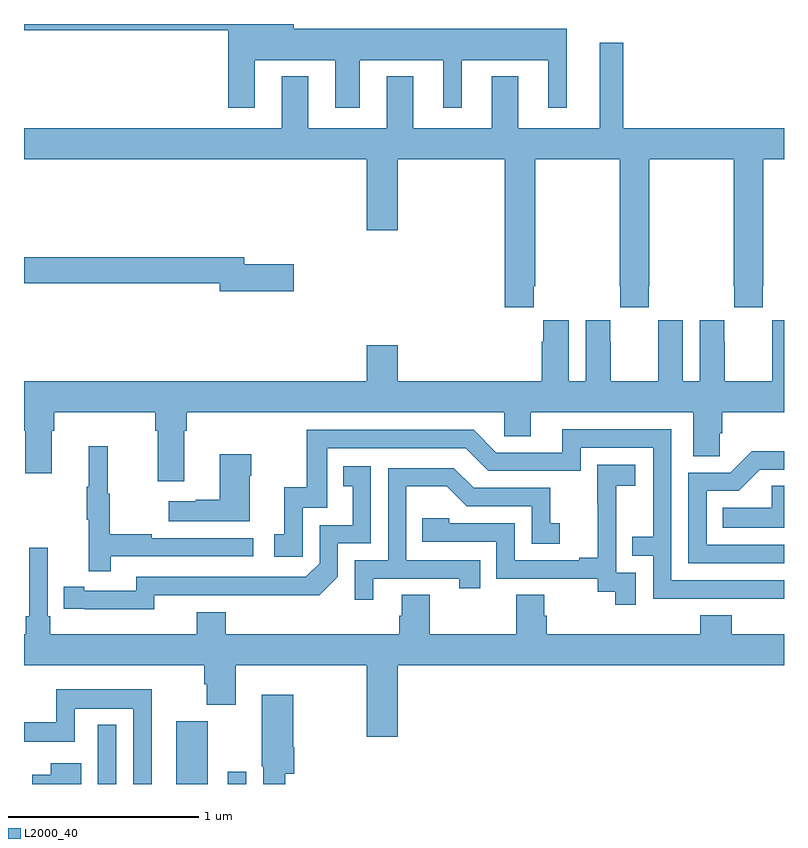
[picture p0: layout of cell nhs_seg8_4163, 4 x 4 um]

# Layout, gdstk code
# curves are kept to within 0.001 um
import gdstk
lib = gdstk.Library(unit=1e-6, precision=1e-09)
def R(c, l, rs):  # rectangles x0, y0, x1, y1
    for r in rs: c.add(gdstk.rectangle(r[:2], r[2:], *l))
def P(c, l, *ps):  # polygons
    for p in ps: c.add(gdstk.Polygon(p, *l))
L2000_40 = (2000, 40)

nhs_seg8_4163 = lib.new_cell('nhs_seg8_4163')
R(nhs_seg8_4163, L2000_40, [(367.389,1091.9,367.485,1092.211), (367.802,1091.9,367.966,1092.231), (368.073,1091.9,368.169,1091.965)])
P(nhs_seg8_4163, L2000_40, [(368.215,1095.71),(368.639,1095.71),(368.639,1095.459),(368.767,1095.459),(368.767,1095.71),(369.206,1095.71),(369.206,1095.459),(369.304,1095.459),(369.304,1095.71),(369.758,1095.71),(369.758,1095.459),(369.856,1095.459),(369.856,1095.874),(368.419,1095.874),(368.419,1095.9),(367,1095.9),(367,1095.868),(368.075,1095.868),(368.075,1095.459),(368.215,1095.459)],
  [(369.683,1094.521),(369.69,1094.521),(369.69,1095.188),(370.135,1095.188),(370.135,1094.521),(370.137,1094.521),(370.137,1094.409),(370.287,1094.409),(370.287,1094.521),(370.29,1094.521),(370.29,1095.188),(370.735,1095.188),(370.735,1094.521),(370.737,1094.521),(370.737,1094.409),(370.887,1094.409),(370.887,1094.521),(370.89,1094.521),(370.89,1095.188),(371,1095.188),(371,1095.352),(370.153,1095.352),(370.153,1095.802),(370.031,1095.802),(370.031,1095.352),(369.601,1095.352),(369.601,1095.625),(369.461,1095.625),(369.461,1095.352),(369.049,1095.352),(369.049,1095.625),(368.909,1095.625),(368.909,1095.352),(368.497,1095.352),(368.497,1095.625),(368.357,1095.625),(368.357,1095.352),(367,1095.352),(367,1095.188),(368.804,1095.188),(368.804,1094.814),(368.968,1094.814),(368.968,1095.188),(369.53,1095.188),(369.53,1094.409),(369.683,1094.409)],
  [(368.419,1094.636),(368.158,1094.636),(368.158,1094.672),(367,1094.672),(367,1094.536),(368.03,1094.536),(368.03,1094.494),(368.419,1094.494)],
  [(367,1093.76),(367.007,1093.76),(367.007,1093.536),(367.147,1093.536),(367.147,1093.76),(367.16,1093.76),(367.16,1093.856),(367.691,1093.856),(367.691,1093.76),(367.703,1093.76),(367.703,1093.494),(367.843,1093.494),(367.843,1093.76),(367.856,1093.76),(367.856,1093.856),(369.528,1093.856),(369.528,1093.729),(369.667,1093.729),(369.667,1093.856),(370.523,1093.856),(370.523,1093.624),(370.662,1093.624),(370.662,1093.747),(370.676,1093.747),(370.676,1093.856),(371,1093.856),(371,1094.341),(370.938,1094.341),(370.938,1094.228),(370.937,1094.228),(370.937,1094.02),(370.687,1094.02),(370.687,1094.228),(370.686,1094.228),(370.686,1094.341),(370.556,1094.341),(370.556,1094.02),(370.468,1094.02),(370.468,1094.341),(370.338,1094.341),(370.338,1094.228),(370.337,1094.228),(370.337,1094.02),(370.087,1094.02),(370.087,1094.228),(370.086,1094.228),(370.086,1094.341),(369.956,1094.341),(369.956,1094.02),(369.868,1094.02),(369.868,1094.341),(369.734,1094.341),(369.734,1094.228),(369.725,1094.228),(369.725,1094.02),(368.968,1094.02),(368.968,1094.209),(368.804,1094.209),(368.804,1094.02),(367,1094.02)],
  [(371,1092.972),(370.407,1092.972),(370.407,1093.767),(369.833,1093.767),(369.833,1093.644),(369.486,1093.644),(369.366,1093.764),(368.487,1093.764),(368.487,1093.462),(368.369,1093.462),(368.369,1093.215),(368.316,1093.215),(368.316,1093.095),(368.466,1093.095),(368.466,1093.353),(368.595,1093.353),(368.595,1093.668),(369.324,1093.668),(369.444,1093.548),(369.93,1093.548),(369.93,1093.671),(370.311,1093.671),(370.311,1093.202),(370.201,1093.202),(370.201,1093.101),(370.311,1093.101),(370.311,1092.876),(371,1092.875)],
  [(367.457,1093.098),(368.206,1093.098),(368.206,1093.194),(367.673,1093.194),(367.673,1093.214),(367.45,1093.214),(367.45,1093.428),(367.442,1093.428),(367.442,1093.678),(367.34,1093.678),(367.34,1093.465),(367.329,1093.465),(367.329,1093.291),(367.34,1093.291),(367.34,1093.02),(367.457,1093.02)],
  [(371,1093.158),(370.593,1093.158),(370.593,1093.443),(370.762,1093.443),(370.873,1093.554),(371,1093.554),(371,1093.652),(370.829,1093.652),(370.716,1093.539),(370.497,1093.539),(370.497,1093.062),(371,1093.062)],
  [(368.188,1093.523),(368.196,1093.523),(368.196,1093.636),(368.03,1093.636),(368.03,1093.397),(367.904,1093.397),(367.904,1093.387),(367.761,1093.387),(367.761,1093.283),(368.188,1093.283)],
  [(370.221,1093.011),(370.116,1093.011),(370.116,1093.241),(370.118,1093.241),(370.118,1093.469),(370.216,1093.469),(370.216,1093.579),(370.018,1093.579),(370.018,1093.373),(370.019,1093.373),(370.019,1093.09),(369.923,1093.09),(369.923,1093.077),(369.582,1093.077),(369.582,1093.272),(369.237,1093.272),(369.237,1093.299),(369.097,1093.299),(369.097,1093.176),(369.486,1093.176),(369.486,1092.981),(370.02,1092.981),(370.02,1092.913),(370.113,1092.913),(370.113,1092.843),(370.221,1092.843)],
  [(367.686,1092.894),(368.554,1092.893),(368.652,1092.99),(368.652,1093.167),(368.826,1093.167),(368.826,1093.573),(368.68,1093.573),(368.68,1093.467),(368.729,1093.467),(368.729,1093.263),(368.556,1093.263),(368.556,1093.062),(368.484,1092.99),(367.59,1092.99),(367.59,1092.918),(367.318,1092.918),(367.318,1092.938),(367.21,1092.938),(367.21,1092.822),(367.686,1092.821)],
  [(368.839,1092.981),(369.29,1092.981),(369.29,1092.93),(369.401,1092.93),(369.401,1093.077),(369.012,1093.077),(369.012,1093.466),(369.226,1093.466),(369.33,1093.362),(369.672,1093.362),(369.672,1093.164),(369.82,1093.164),(369.82,1093.273),(369.771,1093.273),(369.771,1093.458),(369.367,1093.458),(369.262,1093.563),(368.916,1093.563),(368.916,1093.077),(368.742,1093.077),(368.742,1092.87),(368.839,1092.87)],
  [(371,1093.469),(370.935,1093.469),(370.935,1093.354),(370.678,1093.354),(370.678,1093.25),(371,1093.25)],
  [(368.968,1092.524),(371,1092.524),(371,1092.688),(370.724,1092.688),(370.724,1092.787),(370.559,1092.787),(370.559,1092.688),(369.752,1092.688),(369.752,1092.786),(369.739,1092.786),(369.739,1092.896),(369.592,1092.896),(369.592,1092.688),(369.135,1092.688),(369.135,1092.896),(368.987,1092.896),(368.987,1092.786),(368.975,1092.786),(368.975,1092.688),(368.063,1092.688),(368.063,1092.805),(367.91,1092.805),(367.91,1092.688),(367.139,1092.688),(367.139,1092.784),(367.125,1092.784),(367.125,1093.144),(367.028,1093.144),(367.028,1092.784),(367.009,1092.784),(367.009,1092.688),(367,1092.688),(367,1092.524),(367.949,1092.524),(367.949,1092.425),(367.961,1092.425),(367.961,1092.316),(368.114,1092.316),(368.114,1092.524),(368.804,1092.524),(368.804,1092.15),(368.968,1092.15)],
  [(367.672,1092.4),(367.169,1092.4),(367.169,1092.226),(367,1092.226),(367,1092.122),(367.266,1092.122),(367.266,1092.296),(367.575,1092.296),(367.575,1091.9),(367.672,1091.9)],
  [(368.375,1091.954),(368.423,1091.954),(368.423,1092.094),(368.418,1092.094),(368.418,1092.37),(368.252,1092.37),(368.252,1091.994),(368.259,1091.994),(368.259,1091.9),(368.375,1091.9)],
  [(367.3,1092.01),(367.142,1092.01),(367.142,1091.95),(367.043,1091.95),(367.043,1091.9),(367.3,1091.9)])

lib.write_gds('nhs_seg8_4163.gds')
